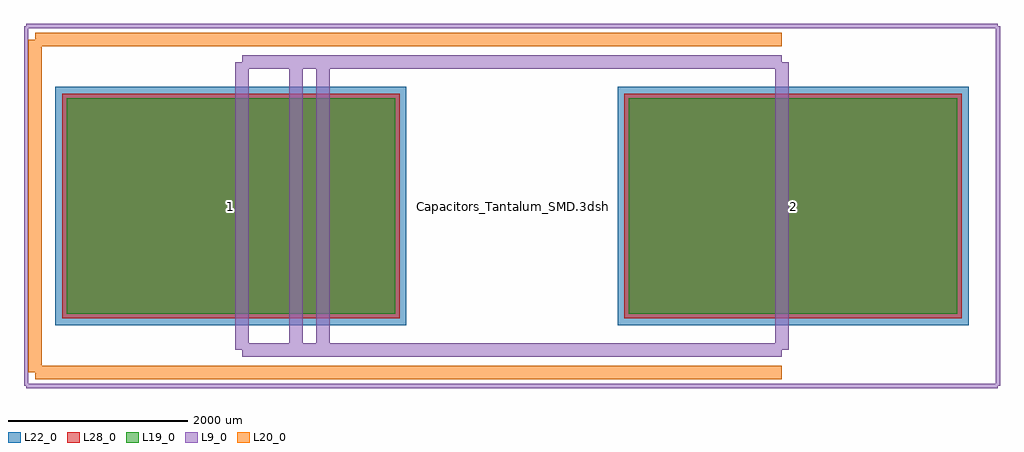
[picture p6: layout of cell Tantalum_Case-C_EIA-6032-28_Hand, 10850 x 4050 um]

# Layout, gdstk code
import gdstk
lib = gdstk.Library(unit=1e-6, precision=1e-09)
def R(c, l, rs):  # rectangles x0, y0, x1, y1
    for r in rs: c.add(gdstk.rectangle(r[:2], r[2:], *l))
L9_0 = (9, 0)
L19_0 = (19, 0)
L20_0 = (20, 0)
L22_0 = (22, 0)
L28_0 = (28, 0)

tantalum_case_c_eia_6032 = lib.new_cell('Tantalum_Case-C_EIA-6032-28_Hand')
R(tantalum_case_c_eia_6032, L19_0, [(-4950,-1200,-1300,1200), (1300,-1200,4950,1200)])
R(tantalum_case_c_eia_6032, L22_0, [(-5075,-1325,-1175,1325), (1175,-1325,5075,1325)])
R(tantalum_case_c_eia_6032, L28_0, [(-5000,-1250,-1250,1250), (1250,-1250,5000,1250)])
tantalum_case_c_eia_6032.add(gdstk.FlexPath([(-5300,1850),(-5300,-1850)], 149.998, ends="flush", simple_path=True, layer=20, datatype=0))  # L20_0
tantalum_case_c_eia_6032.add(gdstk.FlexPath([(-5300,-1850),(3000,-1850)], 149.998, ends="flush", simple_path=True, layer=20, datatype=0))  # L20_0
tantalum_case_c_eia_6032.add(gdstk.FlexPath([(-5300,1850),(3000,1850)], 149.998, ends="flush", simple_path=True, layer=20, datatype=0))  # L20_0
tantalum_case_c_eia_6032.add(gdstk.FlexPath([(-2100,1600),(-2100,-1600)], 149.998, ends="flush", simple_path=True, layer=9, datatype=0))  # L9_0
tantalum_case_c_eia_6032.add(gdstk.FlexPath([(-2400,1600),(-2400,-1600)], 149.998, ends="flush", simple_path=True, layer=9, datatype=0))  # L9_0
tantalum_case_c_eia_6032.add(gdstk.FlexPath([(3000,1600),(-3000,1600)], 149.998, ends="flush", simple_path=True, layer=9, datatype=0))  # L9_0
tantalum_case_c_eia_6032.add(gdstk.FlexPath([(3000,-1600),(3000,1600)], 149.998, ends="flush", simple_path=True, layer=9, datatype=0))  # L9_0
tantalum_case_c_eia_6032.add(gdstk.FlexPath([(-3000,-1600),(3000,-1600)], 149.998, ends="flush", simple_path=True, layer=9, datatype=0))  # L9_0
tantalum_case_c_eia_6032.add(gdstk.FlexPath([(-3000,1600),(-3000,-1600)], 149.998, ends="flush", simple_path=True, layer=9, datatype=0))  # L9_0
tantalum_case_c_eia_6032.add(gdstk.FlexPath([(5400,2000),(-5400,2000)], 50, ends="flush", simple_path=True, layer=9, datatype=0))  # L9_0
tantalum_case_c_eia_6032.add(gdstk.FlexPath([(5400,-2000),(5400,2000)], 50, ends="flush", simple_path=True, layer=9, datatype=0))  # L9_0
tantalum_case_c_eia_6032.add(gdstk.FlexPath([(-5400,-2000),(5400,-2000)], 50, ends="flush", simple_path=True, layer=9, datatype=0))  # L9_0
tantalum_case_c_eia_6032.add(gdstk.FlexPath([(-5400,2000),(-5400,-2000)], 50, ends="flush", simple_path=True, layer=9, datatype=0))  # L9_0
tantalum_case_c_eia_6032.add(gdstk.Label('Capacitors_Tantalum_SMD.3dshapes/Tantalum_Case-C_EIA-6032-28.wrl', (0,0), layer=12, texttype=0))
tantalum_case_c_eia_6032.add(gdstk.Label('2', (3125,0), layer=28, texttype=0))
tantalum_case_c_eia_6032.add(gdstk.Label('1', (-3125,0), layer=28, texttype=0))
tantalum_case_c_eia_6032.add(gdstk.Label('type', (0,-3350), layer=9, texttype=0))
tantalum_case_c_eia_6032.add(gdstk.Label('devicename', (0,3350), layer=9, texttype=0))

lib.write_gds('Tantalum_Case-C_EIA-6032-28_Hand.gds')
